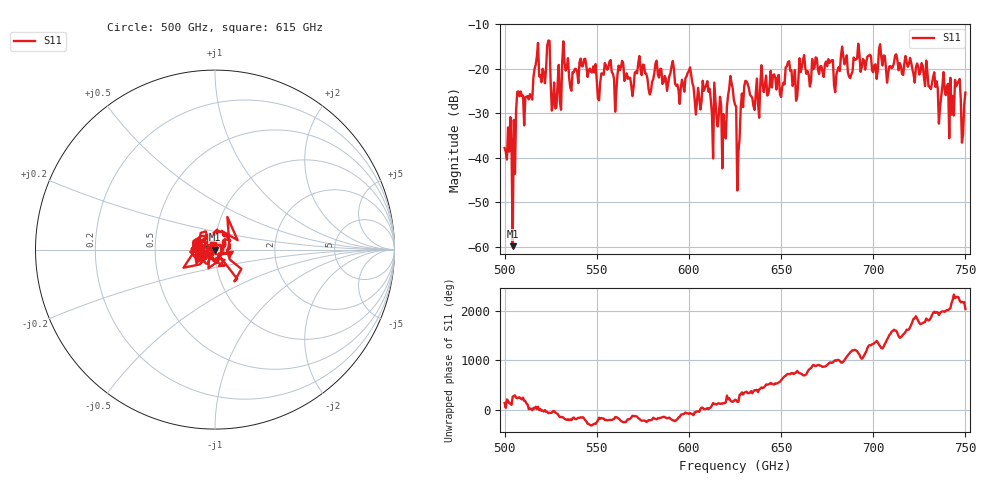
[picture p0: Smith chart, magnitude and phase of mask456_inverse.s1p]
!Created with skrf (http://scikit-rf.org).
# GHz S MA R 50.0
!freq magS11 angS11
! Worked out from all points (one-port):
!   401 points, 500 GHz to 750 GHz, reference 50 ohm
!   lowest |S11| = -59.9 dB at 504.4 GHz (marker M1), VSWR 1.00, Z = 50 - j0.101 ohm
!   |S11| at or under -10 dB: start of sweep to end of sweep
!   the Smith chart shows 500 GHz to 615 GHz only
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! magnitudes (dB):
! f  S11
! 500 GHz  -37.8
! 504.4 GHz  -59.9
! 507.5 GHz  -25.1
! 513.8 GHz  -25.7
! 516.9 GHz  -19.1
! 520.6 GHz  -20.0
! 523.8 GHz  -13.7
! 526.9 GHz  -23.1
! 531.2 GHz  -18.5
! 560 GHz  -29.7
! 562.5 GHz  -20.4
! 579.4 GHz  -25.1
! 590.6 GHz  -19.4
! 593.8 GHz  -23.6
! 610 GHz  -22.8
! 619.4 GHz  -34.1
! 622.5 GHz  -21.6
! 625 GHz  -28.0
! 627.5 GHz  -35.6
! 631.2 GHz  -22.9
! 636.9 GHz  -22.2
! 656.2 GHz  -23.9
! 680 GHz  -21.4
! 684.4 GHz  -19.0
! 687.5 GHz  -22.1
! 691.2 GHz  -17.7
! 718.8 GHz  -19.6
! 750 GHz  -25.4
